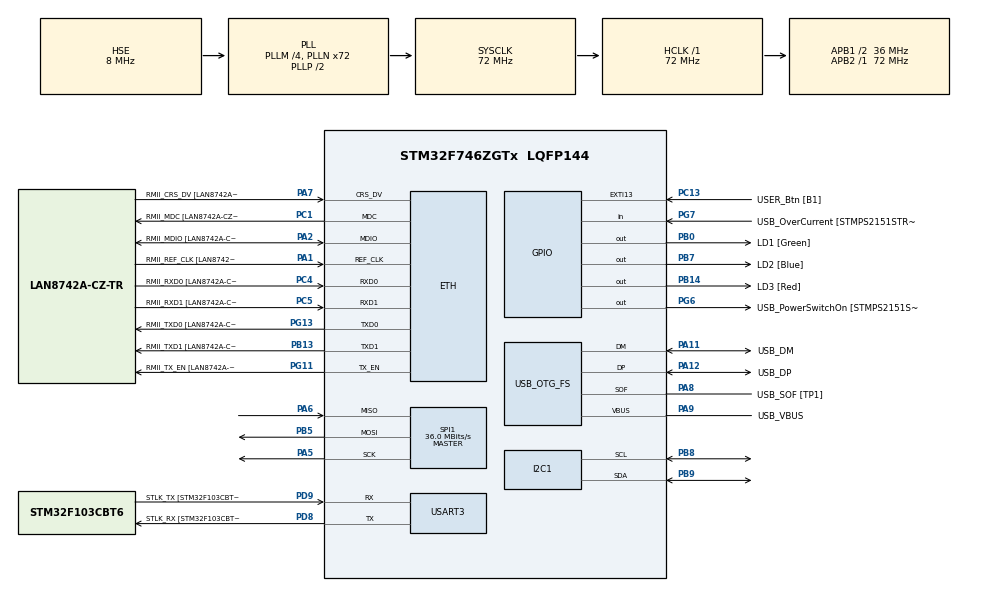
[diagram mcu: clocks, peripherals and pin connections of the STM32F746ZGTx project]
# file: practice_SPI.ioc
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CORTEX_M7.default_mode_Activation=1
ETH.MediaInterface=HAL_ETH_RMII_MODE
ETH.PHY_Name=LAN8742A_PHY_ADDRESS
ETH.PHY_Value=0
ETH.PhyAddress=0
I2C1.Timing=0x00808CD2
Mcu.Family=STM32F7
Mcu.Name=STM32F746ZGTx
Mcu.Package=LQFP144
NVIC.PriorityGroup=NVIC_PRIORITYGROUP_4
PA1.GPIO_Label=RMII_REF_CLK [LAN8742A-CZ-TR_REFCLK0]
PA1.Mode=RMII
PA1.Signal=ETH_REF_CLK
PA10.GPIO_Label=USB_ID
PA10.Signal=USB_OTG_FS_ID
PA11.GPIO_Label=USB_DM
PA11.Mode=Device_Only
PA11.Signal=USB_OTG_FS_DM
PA12.GPIO_Label=USB_DP
PA12.Mode=Device_Only
PA12.Signal=USB_OTG_FS_DP
PA13.GPIO_Label=TMS
PA13.Mode=Serial_Wire
PA13.Signal=SYS_JTMS-SWDIO
PA14.GPIO_Label=TCK
PA14.Mode=Serial_Wire
PA14.Signal=SYS_JTCK-SWCLK
PA2.GPIO_Label=RMII_MDIO [LAN8742A-CZ-TR_MDIO]
PA2.Mode=RMII
PA2.Signal=ETH_MDIO
PA5.Mode=Full_Duplex_Master
PA5.Signal=SPI1_SCK
PA6.Mode=Full_Duplex_Master
PA6.Signal=SPI1_MISO
PA7.GPIO_Label=RMII_CRS_DV [LAN8742A-CZ-TR_CRS_DV]
PA7.Mode=RMII
PA7.Signal=ETH_CRS_DV
PA8.GPIO_Label=USB_SOF [TP1]
PA8.Mode=Activate_SOF_FS
PA8.Signal=USB_OTG_FS_SOF
PA9.GPIO_Label=USB_VBUS
PA9.Mode=Activate_VBUS
PA9.Signal=USB_OTG_FS_VBUS
PB0.GPIO_Label=LD1 [Green]
PB0.Signal=GPIO_Output
PB13.GPIO_Label=RMII_TXD1 [LAN8742A-CZ-TR_TXD1]
PB13.Mode=RMII
PB13.Signal=ETH_TXD1
PB14.GPIO_Label=LD3 [Red]
PB14.Signal=GPIO_Output
PB3.GPIO_Label=SW0
PB3.Signal=SYS_JTDO-SWO
PB5.Mode=Full_Duplex_Master
PB5.Signal=SPI1_MOSI
PB7.GPIO_Label=LD2 [Blue]
PB7.Signal=GPIO_Output
PB8.Mode=I2C
PB8.Signal=I2C1_SCL
PB9.Mode=I2C
PB9.Signal=I2C1_SDA
PC1.GPIO_Label=RMII_MDC [LAN8742A-CZ-TR_MDC]
PC1.Mode=RMII
PC1.Signal=ETH_MDC
PC13.GPIO_Label=USER_Btn [B1]
PC13.Signal=GPXTI13
PC14/OSC32_IN.Mode=LSE-External-Oscillator
PC14/OSC32_IN.Signal=RCC_OSC32_IN
PC15/OSC32_OUT.Mode=LSE-External-Oscillator
PC15/OSC32_OUT.Signal=RCC_OSC32_OUT
PC4.GPIO_Label=RMII_RXD0 [LAN8742A-CZ-TR_RXD0]
PC4.Mode=RMII
PC4.Signal=ETH_RXD0
PC5.GPIO_Label=RMII_RXD1 [LAN8742A-CZ-TR_RXD1]
PC5.Mode=RMII
PC5.Signal=ETH_RXD1
PD8.GPIO_Label=STLK_RX [STM32F103CBT6_PA3]
PD8.GPIO_PuPd=GPIO_PULLUP
PD8.Mode=Asynchronous
PD8.Signal=USART3_TX
PD9.GPIO_Label=STLK_TX [STM32F103CBT6_PA2]
PD9.GPIO_PuPd=GPIO_PULLUP
PD9.Mode=Asynchronous
PD9.Signal=USART3_RX
PG11.GPIO_Label=RMII_TX_EN [LAN8742A-CZ-TR_TXEN]
PG11.Mode=RMII
PG11.Signal=ETH_TX_EN
PG13.GPIO_Label=RMII_TXD0 [LAN8742A-CZ-TR_TXD0]
PG13.Mode=RMII
PG13.Signal=ETH_TXD0
PG6.GPIO_Label=USB_PowerSwitchOn [STMPS2151STR_EN]
PG6.Signal=GPIO_Output
PG7.GPIO_Label=USB_OverCurrent [STMPS2151STR_FAULT]
PG7.Signal=GPIO_Input
PH0/OSC_IN.GPIO_Label=MCO [STM32F103CBT6_PA8]
PH0/OSC_IN.Mode=HSE-External-Clock-Source
PH0/OSC_IN.Signal=RCC_OSC_IN
PH1/OSC_OUT.Mode=HSE-External-Clock-Source
PH1/OSC_OUT.Signal=RCC_OSC_OUT
ProjectManager.HeapSize=0x200
ProjectManager.StackSize=0x400
ProjectManager.TargetToolchain=STM32CubeIDE
RCC.48MHZClocksFreq_Value=24000000
RCC.AHBFreq_Value=72000000
RCC.APB1CLKDivider=RCC_HCLK_DIV2
RCC.APB1Freq_Value=36000000
RCC.APB1TimFreq_Value=72000000
RCC.APB2Freq_Value=72000000
RCC.APB2TimFreq_Value=72000000
RCC.CortexFreq_Value=72000000
RCC.HCLKFreq_Value=72000000
RCC.HSE_VALUE=8000000
RCC.HSI_VALUE=16000000
RCC.PLLM=4
RCC.PLLMUL=RCC_PLL_MUL9
RCC.PLLN=72
RCC.PLLQ=3
RCC.PRESCALERUSB=RCC_USBCLKSOURCE_PLL_DIV1_5
RCC.SYSCLKFreq_VALUE=72000000
RCC.SYSCLKSource=RCC_SYSCLKSOURCE_PLLCLK
RCC.SYSCLKSourceVirtual=RCC_SYSCLKSOURCE_PLLCLK
RCC.USBFreq_Value=48000000
RCC.VCOOutputFreq_Value=144000000
SPI1.CalculateBaudRate=36.0 MBits/s
SPI1.DataSize=SPI_DATASIZE_8BIT
SPI1.Direction=SPI_DIRECTION_2LINES
SPI1.Mode=SPI_MODE_MASTER
SPI1.VirtualType=VM_MASTER
USART3.VirtualMode-Asynchronous=VM_ASYNC
USB_OTG_FS.VirtualMode=Device_Only
board=NUCLEO-F746ZG

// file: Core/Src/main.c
/* USER CODE BEGIN Header */
/**
  ******************************************************************************
  * @file           : main.c
  * @brief          : Main program body
  ******************************************************************************
  * @attention
  *
  * Copyright (c) 2026 STMicroelectronics.
  * All rights reserved.
  *
  * This software is licensed under terms that can be found in the LICENSE file
  * in the root directory of this software component.
  * If no LICENSE file comes with this software, it is provided AS-IS.
  *
  ******************************************************************************
  */
/* USER CODE END Header */
#include "main.h"
#include "eth.h"
#include "i2c.h"
#include "spi.h"
#include "usart.h"
#include "usb_otg.h"
#include "gpio.h"

/* USER CODE BEGIN Includes */
#include <stdio.h>
/* USER CODE END Includes */

/* USER CODE BEGIN PV */
uint8_t tx_data[10] = "HELLO SPI";
uint8_t rx_data[10] = {0, };
/* USER CODE END PV */

void SystemClock_Config(void);
static void MPU_Config(void);

/* USER CODE BEGIN 0 */
int __io_putchar(int ch) {
    HAL_UART_Transmit(&huart3, (uint8_t *)&ch, 1, 100);
    return ch;
}
/* USER CODE END 0 */

int main(void)
{

  /* MPU Configuration--------------------------------------------------------*/
  MPU_Config();

  /* MCU Configuration--------------------------------------------------------*/

  /* Reset of all peripherals, Initializes the Flash interface and the Systick. */
  HAL_Init();

  /* Configure the system clock */
  SystemClock_Config();

  /* Initialize all configured peripherals */
  MX_GPIO_Init();
  MX_ETH_Init();
  MX_I2C1_Init();
  MX_USART3_UART_Init();
  MX_USB_OTG_FS_PCD_Init();
  MX_SPI1_Init();

  /* Infinite loop */
  /* USER CODE BEGIN WHILE */
  while (1)
  {
      printf("\r\n--- SPI Loopback Test Start ---\r\n");

      for(int i=0; i<10; i++) rx_data[i] = 0;

      HAL_StatusTypeDef status = HAL_SPI_TransmitReceive(&hspi1, tx_data, rx_data, 9, 100);

      if (status == HAL_OK)
      {
          printf("TX_DATA: %s\r\n", tx_data);
          printf("RX_DATA: %s\r\n", rx_data);

          uint8_t match = 1;
          for(int i=0; i<9; i++)
          {
              if(tx_data[i] != rx_data[i]) match = 0;
          }

          if(match)
		  {
        	  printf("✅ Result: SUCCESS!\r\n");
		  }
          else
		  {
        	  printf("❌ Result: FAILED!\r\n");
		  }
      }
      else
      {
          printf("🚨 SPI 통신 에러!\r\n");
      }

      HAL_Delay(2000);
    /* USER CODE END WHILE */

  }
}

void SystemClock_Config(void)
{
  RCC_OscInitTypeDef RCC_OscInitStruct = {0};
  RCC_ClkInitTypeDef RCC_ClkInitStruct = {0};

  /** Configure LSE Drive Capability
  */
  HAL_PWR_EnableBkUpAccess();

  /** Configure the main internal regulator output voltage
  */
  __HAL_RCC_PWR_CLK_ENABLE();
  __HAL_PWR_VOLTAGESCALING_CONFIG(PWR_REGULATOR_VOLTAGE_SCALE3);

  /** Initializes the RCC Oscillators according to the specified parameters
  * in the RCC_OscInitTypeDef structure.
  */
  RCC_OscInitStruct.OscillatorType = RCC_OSCILLATORTYPE_HSE;
  RCC_OscInitStruct.HSEState = RCC_HSE_BYPASS;
  RCC_OscInitStruct.PLL.PLLState = RCC_PLL_ON;
  RCC_OscInitStruct.PLL.PLLSource = RCC_PLLSOURCE_HSE;
  RCC_OscInitStruct.PLL.PLLM = 4;
  RCC_OscInitStruct.PLL.PLLN = 72;
  RCC_OscInitStruct.PLL.PLLP = RCC_PLLP_DIV2;
  RCC_OscInitStruct.PLL.PLLQ = 3;
  if (HAL_RCC_OscConfig(&RCC_OscInitStruct) != HAL_OK)
  {
    Error_Handler();
  }

  /** Initializes the CPU, AHB and APB buses clocks
  */
  RCC_ClkInitStruct.ClockType = RCC_CLOCKTYPE_HCLK|RCC_CLOCKTYPE_SYSCLK
                              |RCC_CLOCKTYPE_PCLK1|RCC_CLOCKTYPE_PCLK2;
  RCC_ClkInitStruct.SYSCLKSource = RCC_SYSCLKSOURCE_PLLCLK;
  RCC_ClkInitStruct.AHBCLKDivider = RCC_SYSCLK_DIV1;
  RCC_ClkInitStruct.APB1CLKDivider = RCC_HCLK_DIV2;
  RCC_ClkInitStruct.APB2CLKDivider = RCC_HCLK_DIV1;

  if (HAL_RCC_ClockConfig(&RCC_ClkInitStruct, FLASH_LATENCY_2) != HAL_OK)
  {
    Error_Handler();
  }
}

 /* MPU Configuration */

void MPU_Config(void)
{
  MPU_Region_InitTypeDef MPU_InitStruct = {0};

  /* Disables the MPU */
  HAL_MPU_Disable();

  /** Initializes and configures the Region and the memory to be protected
  */
  MPU_InitStruct.Enable = MPU_REGION_ENABLE;
  MPU_InitStruct.Number = MPU_REGION_NUMBER0;
  MPU_InitStruct.BaseAddress = 0x0;
  MPU_InitStruct.Size = MPU_REGION_SIZE_4GB;
  MPU_InitStruct.SubRegionDisable = 0x87;
  MPU_InitStruct.TypeExtField = MPU_TEX_LEVEL0;
  MPU_InitStruct.AccessPermission = MPU_REGION_NO_ACCESS;
  MPU_InitStruct.DisableExec = MPU_INSTRUCTION_ACCESS_DISABLE;
  MPU_InitStruct.IsShareable = MPU_ACCESS_SHAREABLE;
  MPU_InitStruct.IsCacheable = MPU_ACCESS_NOT_CACHEABLE;
  MPU_InitStruct.IsBufferable = MPU_ACCESS_NOT_BUFFERABLE;

  HAL_MPU_ConfigRegion(&MPU_InitStruct);
  /* Enables the MPU */
  HAL_MPU_Enable(MPU_PRIVILEGED_DEFAULT);

}

void Error_Handler(void)
{
  __disable_irq();
  while (1)
  {
  }
}
